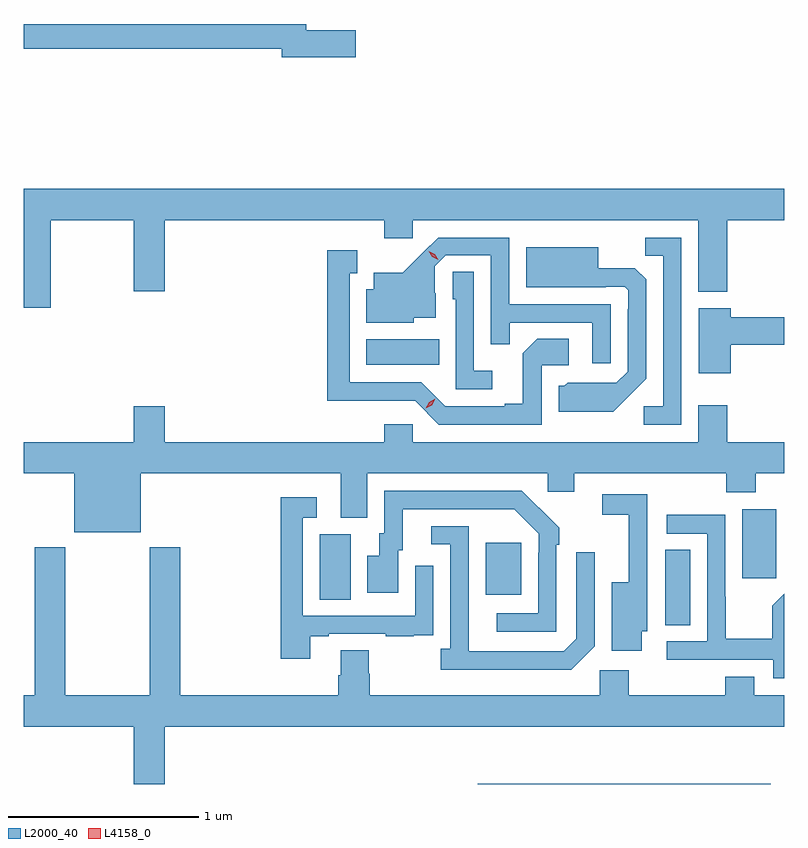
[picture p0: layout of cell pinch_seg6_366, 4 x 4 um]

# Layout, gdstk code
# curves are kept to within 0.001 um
import gdstk
lib = gdstk.Library(unit=1e-6, precision=1e-09)
def R(c, l, rs):  # rectangles x0, y0, x1, y1
    for r in rs: c.add(gdstk.rectangle(r[:2], r[2:], *l))
def P(c, l, *ps):  # polygons
    for p in ps: c.add(gdstk.Polygon(p, *l))
L2000_40 = (2000, 40)
L4158_0 = (4158, 0)

pinch_seg6_366 = lib.new_cell('pinch_seg6_366')
R(pinch_seg6_366, L2000_40, [(634.349,940.374,635.89,940.375), (635.336,941.209,635.467,941.606), (633.518,941.344,633.682,941.688), (634.391,941.369,634.579,941.644), (635.741,941.457,635.92,941.818), (633.764,942.578,634.148,942.712)])
P(pinch_seg6_366, L2000_40, [(633.709,944.337),(633.448,944.337),(633.448,944.371),(631.962,944.371),(631.962,944.242),(633.32,944.242),(633.32,944.195),(633.709,944.195)],
  [(632.103,943.34),(632.54,943.34),(632.54,942.966),(632.704,942.966),(632.704,943.34),(633.857,943.34),(633.857,943.245),(634.008,943.245),(634.008,943.34),(635.51,943.34),(635.51,942.962),(635.663,942.962),(635.663,943.34),(635.962,943.34),(635.962,943.504),(631.962,943.504),(631.962,942.879),(632.103,942.879)],
  [(635.049,942.897),(634.515,942.897),(634.515,943.248),(634.142,943.248),(633.955,943.063),(633.803,943.063),(633.803,942.976),(633.764,942.976),(633.764,942.8),(634.014,942.8),(634.014,942.827),(634.129,942.827),(634.129,942.956),(634.125,942.956),(634.125,943.098),(634.182,943.155),(634.419,943.155),(634.419,942.688),(634.517,942.688),(634.517,942.801),(634.953,942.801),(634.953,942.588),(635.049,942.588)],
  [(635.421,943.248),(635.23,943.248),(635.23,943.153),(635.325,943.153),(635.325,942.36),(635.223,942.36),(635.223,942.264),(635.421,942.264)],
  [(635.143,942.413),(635.235,942.506),(635.235,943.028),(635.176,943.087),(634.984,943.087),(634.984,943.198),(634.604,943.198),(634.604,942.986),(635.024,942.986),(635.024,942.99),(635.124,942.99),(635.142,942.972),(635.142,942.872),(635.139,942.872),(635.139,942.543),(635.079,942.483),(634.822,942.484),(634.806,942.468),(634.775,942.468),(634.775,942.332),(635.063,942.332)],
  [(634.686,942.576),(634.828,942.576),(634.828,942.716),(634.663,942.716),(634.587,942.64),(634.587,942.373),(634.493,942.373),(634.493,942.36),(634.179,942.36),(634.053,942.486),(633.676,942.486),(633.676,943.059),(633.715,943.059),(633.715,943.18),(633.558,943.18),(633.558,942.389),(634.02,942.39),(634.146,942.264),(634.686,942.264)],
  [(634.426,942.547),(634.329,942.547),(634.329,943.067),(634.218,943.067),(634.218,942.924),(634.233,942.924),(634.233,942.45),(634.426,942.45)],
  [(635.68,942.683),(635.962,942.683),(635.962,942.83),(635.68,942.83),(635.68,942.877),(635.513,942.877),(635.513,942.534),(635.68,942.534)],
  [(632.578,942.008),(633.629,942.008),(633.629,941.773),(633.769,941.773),(633.769,942.008),(634.719,942.008),(634.719,941.91),(634.858,941.91),(634.858,942.008),(635.656,942.008),(635.656,941.909),(635.811,941.909),(635.811,942.008),(635.962,942.008),(635.962,942.172),(635.663,942.172),(635.663,942.367),(635.51,942.367),(635.51,942.172),(634.008,942.172),(634.008,942.265),(633.857,942.265),(633.857,942.172),(632.704,942.172),(632.704,942.361),(632.54,942.361),(632.54,942.172),(631.962,942.172),(631.962,942.008),(632.228,942.008),(632.228,941.699),(632.578,941.699)],
  [(634.764,941.633),(634.779,941.633),(634.779,941.721),(634.582,941.916),(633.858,941.916),(633.858,941.694),(633.833,941.694),(633.833,941.575),(633.77,941.575),(633.77,941.379),(633.931,941.379),(633.931,941.604),(633.955,941.604),(633.955,941.82),(634.543,941.82),(634.671,941.691),(634.671,941.591),(634.668,941.591),(634.668,941.271),(634.449,941.271),(634.449,941.175),(634.764,941.175)],
  [(635.212,941.177),(635.241,941.177),(635.241,941.898),(635.004,941.898),(635.004,941.79),(635.144,941.79),(635.144,941.434),(635.054,941.434),(635.054,941.076),(635.212,941.076)],
  [(633.469,941.151),(633.565,941.151),(633.565,941.163),(633.865,941.163),(633.865,941.151),(634.013,941.151),(634.013,941.157),(634.115,941.157),(634.115,941.266),(634.116,941.266),(634.116,941.521),(634.02,941.521),(634.02,941.259),(633.429,941.259),(633.429,941.775),(633.502,941.775),(633.502,941.881),(633.313,941.881),(633.313,941.034),(633.469,941.034)],
  [(635.962,941.374),(635.899,941.311),(635.899,941.137),(635.655,941.137),(635.655,941.36),(635.652,941.36),(635.652,941.79),(635.343,941.79),(635.343,941.691),(635.556,941.691),(635.556,941.124),(635.343,941.124),(635.343,941.028),(635.904,941.028),(635.904,940.931),(635.962,940.931)],
  [(634.965,941.099),(634.965,941.593),(634.869,941.593),(634.869,941.139),(634.803,941.073),(634.303,941.073),(634.302,941.73),(634.104,941.73),(634.104,941.634),(634.206,941.634),(634.206,941.086),(634.155,941.086),(634.155,940.976),(634.842,940.976)],
  [(632.704,940.676),(635.962,940.676),(635.962,940.84),(635.803,940.84),(635.803,940.939),(635.651,940.939),(635.651,940.84),(635.144,940.84),(635.144,940.972),(634.992,940.972),(634.992,940.84),(633.782,940.84),(633.782,940.953),(633.777,940.953),(633.777,941.078),(633.629,941.078),(633.629,940.946),(633.617,940.946),(633.617,940.84),(632.786,940.84),(632.786,941.62),(632.626,941.62),(632.626,940.84),(632.181,940.84),(632.181,941.62),(632.021,941.62),(632.021,940.84),(631.962,940.84),(631.962,940.676),(632.54,940.676),(632.54,940.374),(632.704,940.374)])
P(pinch_seg6_366, L4158_0, [(634.141,943.131),(634.11,943.146),(634.092,943.175),(634.092,943.175),(634.093,943.175),(634.124,943.16),(634.141,943.131),(634.141,943.131)],
  [(634.076,942.349),(634.076,942.349),(634.094,942.381),(634.126,942.4),(634.127,942.4),(634.127,942.399),(634.108,942.367),(634.076,942.349)])

lib.write_gds('pinch_seg6_366.gds')
